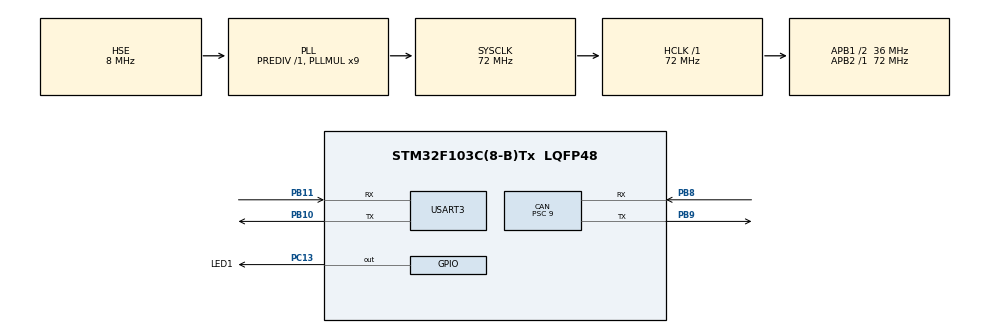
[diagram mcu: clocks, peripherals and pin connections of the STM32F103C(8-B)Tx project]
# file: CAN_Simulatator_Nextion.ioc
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CAN.BS1=CAN_BS1_3TQ
CAN.BS2=CAN_BS2_4TQ
CAN.CalculateTimeBit=2000
CAN.CalculateTimeQuantum=250.0
CAN.Prescaler=9
Mcu.Family=STM32F1
Mcu.Name=STM32F103C(8-B)Tx
Mcu.Package=LQFP48
NVIC.PriorityGroup=NVIC_PRIORITYGROUP_4
NVIC.USART3_IRQn=true\:0\:0\:false\:false\:true\:true\:true
NVIC.USB_LP_CAN1_RX0_IRQn=true\:0\:0\:false\:false\:true\:true\:true
PA13.Mode=Serial_Wire
PA13.Signal=SYS_JTMS-SWDIO
PA14.Mode=Serial_Wire
PA14.Signal=SYS_JTCK-SWCLK
PB10.Mode=Asynchronous
PB10.Signal=USART3_TX
PB11.GPIO_PuPd=GPIO_PULLUP
PB11.Mode=Asynchronous
PB11.Signal=USART3_RX
PB8.Mode=Master
PB8.Signal=CAN_RX
PB9.Mode=Master
PB9.Signal=CAN_TX
PC13-TAMPER-RTC.GPIO_Label=LED1
PC13-TAMPER-RTC.Signal=GPIO_Output
PD0-OSC_IN.Mode=HSE-External-Oscillator
PD0-OSC_IN.Signal=RCC_OSC_IN
PD1-OSC_OUT.Mode=HSE-External-Oscillator
PD1-OSC_OUT.Signal=RCC_OSC_OUT
ProjectManager.HeapSize=0x200
ProjectManager.StackSize=0x400
ProjectManager.TargetToolchain=MDK-ARM V5
RCC.ADCPresc=RCC_ADCPCLK2_DIV6
RCC.AHBFreq_Value=72000000
RCC.APB1CLKDivider=RCC_HCLK_DIV2
RCC.APB1Freq_Value=36000000
RCC.APB1TimFreq_Value=72000000
RCC.APB2Freq_Value=72000000
RCC.APB2TimFreq_Value=72000000
RCC.HCLKFreq_Value=72000000
RCC.PLLMUL=RCC_PLL_MUL9
RCC.PLLSourceVirtual=RCC_PLLSOURCE_HSE
RCC.SYSCLKFreq_VALUE=72000000
RCC.SYSCLKSource=RCC_SYSCLKSOURCE_PLLCLK
RCC.USBFreq_Value=48000000
RCC.USBPrescaler=RCC_USBCLKSOURCE_PLL_DIV1_5
USART3.VirtualMode=VM_ASYNC
board=custom

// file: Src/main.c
/* USER CODE BEGIN Header */
/**
  ******************************************************************************
  * @file           : main.c
  * @brief          : Main program body
  ******************************************************************************
  * @attention
  *
  * <h2><center>&copy; Copyright (c) 2020 STMicroelectronics.
  * All rights reserved.</center></h2>
  *
  * This software component is licensed by ST under BSD 3-Clause license,
  * the "License"; You may not use this file except in compliance with the
  * License. You may obtain a copy of the License at:
  *                        opensource.org/licenses/BSD-3-Clause
  *
  ******************************************************************************
  */
/* USER CODE END Header */

#include "main.h"

/* USER CODE BEGIN Includes */
#include "stdio.h"
#include "string.h"
#include "stdbool.h"
#include "PIDs.h"

/* USER CODE END Includes */

/* USER CODE BEGIN PD */

#define NUMBER_OF_RX_PIDs canRX[0]
#define NUMBER_OF_TX_PIDs canTX_msg[1]

#define FIRST_RX_PID canRX[2]
#define SECOND_RX_PID canRX[3]
#define THIRD_RX_PID canRX[4]

#define ONE_PID 0x02
#define TWO_PID 0x03
#define THREE_PID 0x04

#define RX_ID 0x7DF
#define TX_ID 0x7E8

/* USER CODE END PD */

CAN_HandleTypeDef hcan;

UART_HandleTypeDef huart3;

/* USER CODE BEGIN PV */

CAN_RxHeaderTypeDef rxHeader;
CAN_TxHeaderTypeDef txHeader;

CAN_FilterTypeDef canfil;

uint32_t canMailbox;

uint8_t canRX[8];
uint8_t canTX[8];

uint8_t canTX_msg[8]; //create CAN TX data message

uint8_t Rx_Nextion[20];
bool NextionRxMsg = 0;

uint8_t PAGE_NEXTION;

uint8_t INTAKE_PRESSURE,
				INTAKE_TEMPERATURE,
				ENGINE_COOLANT,
				LAMBDA_NARROW,
				LAMBDA_WIDE_1,
				LAMBDA_WIDE_2,
				LAMBDA_WIDE_3,
				IGNITION_TIMING,
				THROTTLE_POS;

uint16_t	FUEL_RAIL;

/* USER CODE END PV */

void SystemClock_Config(void);
static void MX_GPIO_Init(void);
static void MX_CAN_Init(void);
static void MX_USART3_UART_Init(void);
/* USER CODE BEGIN PFP */

float Map (float inVal, float inMin, float inMax, float outMin, float outMax);
void filter_can_config(void);
//void send_canmsg(unsigned char pid);
void send_canmsg(void);
void HAL_CAN_RxFifo0MsgPendingCallback(CAN_HandleTypeDef *hcan);
void Parse_Nextion(void);
void parse_data(unsigned char pid, uint8_t *A, uint8_t *B, uint8_t *C, uint8_t *D, uint8_t *size);
void Page_0(void);
void Page_1(void);
void Page_2(void);
/* USER CODE END PFP */

int main(void)
{

  /* MCU Configuration--------------------------------------------------------*/

  /* Reset of all peripherals, Initializes the Flash interface and the Systick. */
  HAL_Init();

  /* Configure the system clock */
  SystemClock_Config();

  /* USER CODE BEGIN SysInit */
	HAL_Delay(5000);
  /* USER CODE END SysInit */

  /* Initialize all configured peripherals */
  MX_GPIO_Init();
  MX_CAN_Init();
  MX_USART3_UART_Init();
  /* USER CODE BEGIN 2 */

	HAL_UART_Receive_IT(&huart3, Rx_Nextion, 11);

	/*----Config filter and start CAN interface------*/
	filter_can_config();
	HAL_CAN_ConfigFilter(&hcan, &canfil);
	HAL_CAN_Start(&hcan);
	//HAL_CAN_ActivateNotification(&hcan, CAN_IT_RX_FIFO0_MSG_PENDING);

	/*----Configure CAN TX messages------------*/
	txHeader.DLC = 8;
	txHeader.IDE = CAN_ID_STD;
	txHeader.RTR = CAN_RTR_DATA;
	txHeader.StdId = TX_ID;
	txHeader.ExtId = 0x02;
	txHeader.TransmitGlobalTime = DISABLE;

	HAL_GPIO_WritePin(LED1_GPIO_Port, LED1_Pin, GPIO_PIN_SET);

	HAL_CAN_ActivateNotification(&hcan, CAN_IT_RX_FIFO0_MSG_PENDING);
  /* USER CODE END 2 */

  /* Infinite loop */
  /* USER CODE BEGIN WHILE */
  while (1)
  {
		if(NextionRxMsg == 1)
		{
			Parse_Nextion();
			NextionRxMsg = 0;
		}

    if(rxHeader.StdId == RX_ID) //Verify if RX ID is 0x7DF
    {
				//Create_CAN_Msg();
				//send_canmsg(canRX[2]);  //Call function that send CAN message
				send_canmsg();					//Call function that send CAN message
				rxHeader.StdId = 0x00;	//Clear RX ID for don't enter in this "if" on next loop
				HAL_Delay(50);					//Some delay for my application not go to fast, we can comment this line for faster messages
		}

    /* USER CODE END WHILE */

  }
}

void SystemClock_Config(void)
{
  RCC_OscInitTypeDef RCC_OscInitStruct = {0};
  RCC_ClkInitTypeDef RCC_ClkInitStruct = {0};

  /** Initializes the CPU, AHB and APB busses clocks
  */
  RCC_OscInitStruct.OscillatorType = RCC_OSCILLATORTYPE_HSE;
  RCC_OscInitStruct.HSEState = RCC_HSE_ON;
  RCC_OscInitStruct.HSEPredivValue = RCC_HSE_PREDIV_DIV1;
  RCC_OscInitStruct.HSIState = RCC_HSI_ON;
  RCC_OscInitStruct.PLL.PLLState = RCC_PLL_ON;
  RCC_OscInitStruct.PLL.PLLSource = RCC_PLLSOURCE_HSE;
  RCC_OscInitStruct.PLL.PLLMUL = RCC_PLL_MUL9;
  if (HAL_RCC_OscConfig(&RCC_OscInitStruct) != HAL_OK)
  {
    Error_Handler();
  }
  /** Initializes the CPU, AHB and APB busses clocks
  */
  RCC_ClkInitStruct.ClockType = RCC_CLOCKTYPE_HCLK|RCC_CLOCKTYPE_SYSCLK
                              |RCC_CLOCKTYPE_PCLK1|RCC_CLOCKTYPE_PCLK2;
  RCC_ClkInitStruct.SYSCLKSource = RCC_SYSCLKSOURCE_PLLCLK;
  RCC_ClkInitStruct.AHBCLKDivider = RCC_SYSCLK_DIV1;
  RCC_ClkInitStruct.APB1CLKDivider = RCC_HCLK_DIV2;
  RCC_ClkInitStruct.APB2CLKDivider = RCC_HCLK_DIV1;

  if (HAL_RCC_ClockConfig(&RCC_ClkInitStruct, FLASH_LATENCY_2) != HAL_OK)
  {
    Error_Handler();
  }
}

static void MX_CAN_Init(void)
{

  hcan.Instance = CAN1;
  hcan.Init.Prescaler = 9;
  hcan.Init.Mode = CAN_MODE_NORMAL;
  hcan.Init.SyncJumpWidth = CAN_SJW_1TQ;
  hcan.Init.TimeSeg1 = CAN_BS1_3TQ;
  hcan.Init.TimeSeg2 = CAN_BS2_4TQ;
  hcan.Init.TimeTriggeredMode = DISABLE;
  hcan.Init.AutoBusOff = DISABLE;
  hcan.Init.AutoWakeUp = DISABLE;
  hcan.Init.AutoRetransmission = DISABLE;
  hcan.Init.ReceiveFifoLocked = DISABLE;
  hcan.Init.TransmitFifoPriority = DISABLE;
  if (HAL_CAN_Init(&hcan) != HAL_OK)
  {
    Error_Handler();
  }

}

static void MX_USART3_UART_Init(void)
{

  huart3.Instance = USART3;
  huart3.Init.BaudRate = 115200;
  huart3.Init.WordLength = UART_WORDLENGTH_8B;
  huart3.Init.StopBits = UART_STOPBITS_1;
  huart3.Init.Parity = UART_PARITY_NONE;
  huart3.Init.Mode = UART_MODE_TX_RX;
  huart3.Init.HwFlowCtl = UART_HWCONTROL_NONE;
  huart3.Init.OverSampling = UART_OVERSAMPLING_16;
  if (HAL_UART_Init(&huart3) != HAL_OK)
  {
    Error_Handler();
  }

}

static void MX_GPIO_Init(void)
{
  GPIO_InitTypeDef GPIO_InitStruct = {0};

  /* GPIO Ports Clock Enable */
  __HAL_RCC_GPIOC_CLK_ENABLE();
  __HAL_RCC_GPIOD_CLK_ENABLE();
  __HAL_RCC_GPIOB_CLK_ENABLE();
  __HAL_RCC_GPIOA_CLK_ENABLE();

  /*Configure GPIO pin Output Level */
  HAL_GPIO_WritePin(LED1_GPIO_Port, LED1_Pin, GPIO_PIN_RESET);

  /*Configure GPIO pin : LED1_Pin */
  GPIO_InitStruct.Pin = LED1_Pin;
  GPIO_InitStruct.Mode = GPIO_MODE_OUTPUT_PP;
  GPIO_InitStruct.Pull = GPIO_NOPULL;
  GPIO_InitStruct.Speed = GPIO_SPEED_FREQ_LOW;
  HAL_GPIO_Init(LED1_GPIO_Port, &GPIO_InitStruct);

}

/* USER CODE BEGIN 4 */

void HAL_UART_RxCpltCallback(UART_HandleTypeDef *huart)
{
	NextionRxMsg = 1;
	HAL_UART_Receive_IT(&huart3, Rx_Nextion, 11);
}

void HAL_CAN_RxFifo0MsgPendingCallback(CAN_HandleTypeDef *hcan)
{
	HAL_CAN_GetRxMessage(hcan, CAN_RX_FIFO0, &rxHeader, canRX); //Receive CAN bus message to canRX buffer in INTERRUPT MODE
	HAL_GPIO_TogglePin(LED1_GPIO_Port, LED1_Pin);// toggle PC13 LED
}

void Page_0()
{
	switch (Rx_Nextion[2])
	{
		case 1: INTAKE_PRESSURE = Rx_Nextion[7]; break;
		case 2: INTAKE_TEMPERATURE = Rx_Nextion[7]; break;
		case 3: ENGINE_COOLANT = Rx_Nextion[7]; break;
		case 4: LAMBDA_NARROW = Rx_Nextion[7]; break;
		case 5: FUEL_RAIL = Rx_Nextion[7] + (Rx_Nextion[8] * 256); break;
	}
}

void Page_1()
{
	switch (Rx_Nextion[2])
	{
		case 1: IGNITION_TIMING = Rx_Nextion[7]; break;
		case 2: THROTTLE_POS = Rx_Nextion[7]; break;
	}
}

void Page_2()
{
	switch (Rx_Nextion[2])
	{
		case 1: ; break;
		case 2: ; break;
	}
}

void Parse_Nextion()
{
	switch (Rx_Nextion[1])
	{
		case 0: Page_0(); break;
		case 1: Page_1(); break;
		case 2: Page_2(); break;
	}
}

void send_canmsg()
{
		uint8_t A, B, C, D, SIZE_OF_FIRST_PID, SIZE_OF_SECOND_PID, SIZE_OF_THIRD_PID;
		canTX_msg[0] = 0x41;

		if(NUMBER_OF_RX_PIDs == ONE_PID)
		{
			NUMBER_OF_TX_PIDs = NUMBER_OF_RX_PIDs;
			parse_data(FIRST_RX_PID, &A, &B, &C, &D, &SIZE_OF_FIRST_PID);
			canTX_msg[2] = FIRST_RX_PID;
			canTX_msg[3] = A;
			canTX_msg[4] = B;
			canTX_msg[5] = C;
			canTX_msg[6] = D;
			canTX_msg[7] = NULL;
		}

		if(NUMBER_OF_RX_PIDs == TWO_PID)
		{
			NUMBER_OF_TX_PIDs = NUMBER_OF_RX_PIDs;
			canTX_msg[2] = FIRST_RX_PID;
			parse_data(FIRST_RX_PID, &A, &B, &C, &D, &SIZE_OF_FIRST_PID);
			if(SIZE_OF_FIRST_PID == 2)
			{
				canTX_msg[3] = A;
				canTX_msg[4] = B;
				canTX_msg[5] = SECOND_RX_PID;
				parse_data(SECOND_RX_PID, &A, &B, &C, &D, &SIZE_OF_SECOND_PID);
				canTX_msg[6] = A;
				canTX_msg[7] = B;
			}
			else
			{
				canTX_msg[3] = A;
				canTX_msg[4] = SECOND_RX_PID;
				parse_data(SECOND_RX_PID, &A, &B, &C, &D, &SIZE_OF_SECOND_PID);
				canTX_msg[5] = A;
				canTX_msg[6] = B;
				canTX_msg[7] = NULL;
			}
		}

		if(NUMBER_OF_RX_PIDs == THREE_PID)
		{
			NUMBER_OF_TX_PIDs = NUMBER_OF_RX_PIDs;
			canTX_msg[2] = FIRST_RX_PID;
			parse_data(FIRST_RX_PID, &A, &B, &C, &D, &SIZE_OF_FIRST_PID);
			if(SIZE_OF_FIRST_PID == 2)
			{
				canTX_msg[3] = A;
				canTX_msg[4] = B;
				canTX_msg[5] = SECOND_RX_PID;
				parse_data(SECOND_RX_PID, &A, &B, &C, &D, &SIZE_OF_SECOND_PID);
				canTX_msg[6] = A;
				canTX_msg[7] = B;
			}
			else
			{
				canTX_msg[3] = A;
				canTX_msg[4] = SECOND_RX_PID;
				parse_data(SECOND_RX_PID, &A, &B, &C, &D, &SIZE_OF_SECOND_PID);
				if(SIZE_OF_SECOND_PID == 2)
				{
					canTX_msg[5] = A;
					canTX_msg[6] = B;
					canTX_msg[7] = NULL;
				}
				else
				{
					canTX_msg[5] = A;
					canTX_msg[6] = THIRD_RX_PID;
					parse_data(THIRD_RX_PID, &A, &B, &C, &D, &SIZE_OF_THIRD_PID);
					canTX_msg[7] = A;
				}
			}
		}

		HAL_CAN_AddTxMessage(&hcan, &txHeader, canTX_msg, &canMailbox);//send TX CAN message

		memset(canTX_msg, 0x00, 8);
		HAL_GPIO_TogglePin(LED1_GPIO_Port, LED1_Pin);// toggle PC13 LED
}

void parse_data(unsigned char pid, uint8_t *A, uint8_t *B, uint8_t *C, uint8_t *D, uint8_t *size)
{
    switch (pid)
    {
        case PID_RPM:
        case PID_EVAP_SYS_VAPOR_PRESSURE: // kPa
            break;
        case PID_FUEL_PRESSURE: // kPa
            break;
        case PID_COOLANT_TEMP: //celsius
            *A = ENGINE_COOLANT; *B = 0x00; *C = 0x00; *D = 0x00; *size = 1;
            break;
        case PID_OXYGEN_SENSOR: //milivolts
            *A = LAMBDA_NARROW;  *B = 0x00; *C = 0x00; *D = 0x00; *size = 2;
            break;
        case PID_INTAKE_TEMP: //celsius
            *A = INTAKE_TEMPERATURE; *B = 0x00; *C = 0x00; *D = 0x00; *size = 1;
            break;
        case PID_INTAKE_MAP: //kpa
            *A = INTAKE_PRESSURE; *B = 0x00; *C = 0x00; *D = 0x00; *size = 1;
            break;
        case PID_AMBIENT_TEMP:
        case PID_ENGINE_OIL_TEMP://celsius
            break;
        case PID_THROTTLE: //percent
            *A = THROTTLE_POS; *B = 0x00; *C = 0x00; *D = 0x00; *size = 1;
            break;
        case PID_SPEED: //km/h
            break;
        case PID_COMMANDED_EGR:
        case PID_COMMANDED_EVAPORATIVE_PURGE:
        case PID_FUEL_LEVEL:
        case PID_RELATIVE_THROTTLE_POS:
        case PID_ABSOLUTE_THROTTLE_POS_B:
        case PID_ABSOLUTE_THROTTLE_POS_C:
        case PID_ACC_PEDAL_POS_D:
        case PID_ACC_PEDAL_POS_E:
        case PID_ACC_PEDAL_POS_F:
        case PID_COMMANDED_THROTTLE_ACTUATOR:
        case PID_ENGINE_LOAD://percent
            break;
        case PID_ABSOLUTE_ENGINE_LOAD:
        case PID_ETHANOL_FUEL:
        case PID_HYBRID_BATTERY_PERCENTAGE:
        case PID_MAF_FLOW: // grams/sec
            break;
        case PID_TIMING_ADVANCE: //degree
            *A = IGNITION_TIMING; *B = 0x00; *C = 0x00; *D = 0x00; *size = 1;
            break;
        case PID_DISTANCE: // km
        case PID_DISTANCE_WITH_MIL: // km
        case PID_TIME_WITH_MIL: // minute
        case PID_TIME_SINCE_CODES_CLEARED: // minute
        case PID_RUNTIME: // second
        case PID_FUEL_RAIL_PRESSURE:// kPa
            *A = (FUEL_RAIL >> 8) & 0xFF; *B = (FUEL_RAIL >> 0) & 0xFF; *C = 0x00; *D = 0x00; *size = 2;
            break;
        case PID_ENGINE_REF_TORQUE: // Nm
            break;
        case PID_CONTROL_MODULE_VOLTAGE: // V
            break;
        case PID_ENGINE_FUEL_RATE: // L/h
            break;
        case PID_ENGINE_TORQUE_DEMANDED: // %
        case PID_ENGINE_TORQUE_PERCENTAGE: // %
            break;
        case PID_SHORT_TERM_FUEL_TRIM_1:
        case PID_LONG_TERM_FUEL_TRIM_1:
        case PID_SHORT_TERM_FUEL_TRIM_2:
        case PID_LONG_TERM_FUEL_TRIM_2:
        case PID_EGR_ERROR:
            break;
        case PID_FUEL_INJECTION_TIMING:
            break;
        case PID_CATALYST_TEMP_B1S1:
        case PID_CATALYST_TEMP_B2S1:
        case PID_CATALYST_TEMP_B1S2:
        case PID_CATALYST_TEMP_B2S2:
            break;
        case PID_AIR_FUEL_EQUIV_RATIO_1: // 0~200
            break;
				case PID_AIR_FUEL_EQUIV_RATIO_2: // 0~200
            break;
				case PID_AIR_FUEL_EQUIV_RATIO_3: // 0~200
            break;
        default:
            *A = 0x00; *B = 0x00; *C = 0x00; *D = 0x00;
    }//fim do case
}

void filter_can_config()
{
	//https://www.esacademy.com/en/library/calculators/can-best-and-worst-case-calculator.html
	//https://schulz-m.github.io/2017/03/23/stm32-can-id-filter/
	canfil.FilterBank = 0;
	canfil.FilterMode = CAN_FILTERMODE_IDMASK;
	canfil.FilterFIFOAssignment = CAN_RX_FIFO0;

	canfil.FilterIdHigh = ((RX_ID << 5)  | (RX_ID >> (32 - 5))) & 0xFFFF; // STID[10:0] & EXTID[17:13]
	canfil.FilterIdLow = (RX_ID >> (11 - 3)) & 0xFFF8; // EXID[12:5] & 3 Reserved bits

	canfil.FilterMaskIdHigh = ((0x1FFFFFFF << 5)  | (0x1FFFFFFF >> (32 - 5))) & 0xFFFF;
  canfil.FilterMaskIdLow = (0x1FFFFFFF >> (11 - 3)) & 0xFFF8;

	canfil.FilterScale = CAN_FILTERSCALE_32BIT;
	canfil.FilterActivation = ENABLE;
	canfil.SlaveStartFilterBank = 14;
}

float Map (float inVal, float inMin, float inMax, float outMin, float outMax)
{
	return ( (inVal - inMin)*(outMax - outMin)/(inMax - inMin) + outMin );
}

/* USER CODE END 4 */

void Error_Handler(void)
{
}

/************************ (C) COPYRIGHT STMicroelectronics *****END OF FILE****/
